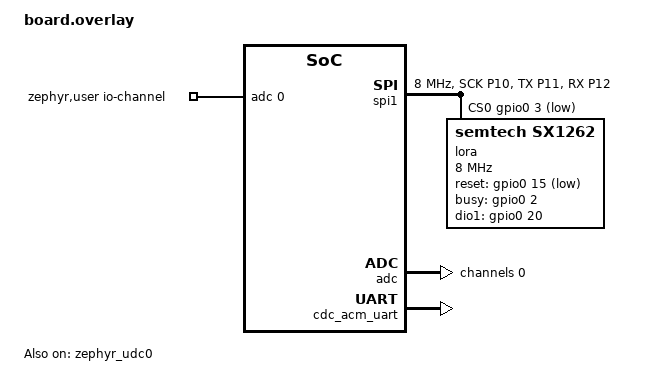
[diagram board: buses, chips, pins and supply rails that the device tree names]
#include <zephyr/dt-bindings/gpio/gpio.h>
#include <zephyr/dt-bindings/adc/adc.h>
#include <zephyr/dt-bindings/lora/sx126x.h>
#include <zephyr/dt-bindings/pinctrl/rpi-pico-rp2040-pinctrl.h>

/ {
	chosen {
		zephyr,console = &cdc_acm_uart;
		zephyr,shell-uart = &cdc_acm_uart;
	};

	aliases {
		/delete-property/ led0;
		lora-tx-led = &led0;
		lora0 = &lora;
	};

	zephyr,user {
		io-channels = <&adc 0>;
		vbat-mv-multiplier = <10230>;
	};
};

&pinctrl {
	spi1_lora_default: spi1_lora_default {
		group1 {
			pinmux = <SPI1_SCK_P10>,
				 <SPI1_TX_P11>;
		};

		group2 {
			pinmux = <SPI1_RX_P12>;
			input-enable;
		};
	};
};

&spi0 {
	status = "disabled";
};

&spi1 {
	clock-frequency = <DT_FREQ_M(8)>;
	status = "okay";
	pinctrl-0 = <&spi1_lora_default>;
	pinctrl-names = "default";
	cs-gpios = <&gpio0 3 GPIO_ACTIVE_LOW>;

	lora: lora@0 {
		compatible = "semtech,sx1262";
		reg = <0>;
		spi-max-frequency = <DT_FREQ_M(8)>;

		reset-gpios = <&gpio0 15 GPIO_ACTIVE_LOW>;
		busy-gpios = <&gpio0 2 GPIO_ACTIVE_HIGH>;
		dio1-gpios = <&gpio0 20 (GPIO_PULL_DOWN | GPIO_ACTIVE_HIGH)>;

		startup-delay-ms = <10>;
		dio2-tx-enable;
		dio3-tcxo-voltage = <SX126X_DIO3_TCXO_1V8>;
		tcxo-power-startup-delay-ms = <10>;
		rx-boosted;
	};
};

&adc {
	status = "okay";
	pinctrl-0 = <&adc_default>;
	pinctrl-names = "default";
	#address-cells = <1>;
	#size-cells = <0>;

	channel@0 {
		reg = <0>;
		zephyr,gain = "ADC_GAIN_1";
		zephyr,reference = "ADC_REF_INTERNAL";
		zephyr,acquisition-time = <ADC_ACQ_TIME_DEFAULT>;
		zephyr,resolution = <12>;
	};
};

&zephyr_udc0 {
	status = "okay";

	cdc_acm_uart: cdc_acm_uart {
		compatible = "zephyr,cdc-acm-uart";
	};
};

&code_partition {
	reg = <0x00000100 0x0017ff00>;
};

&flash0 {
	partitions {
		lfs_partition: partition@180000 {
			label = "lfs";
			reg = <0x00180000 0x00080000>;
		};
	};
};

#include "../../common/filesystem.dtsi"
